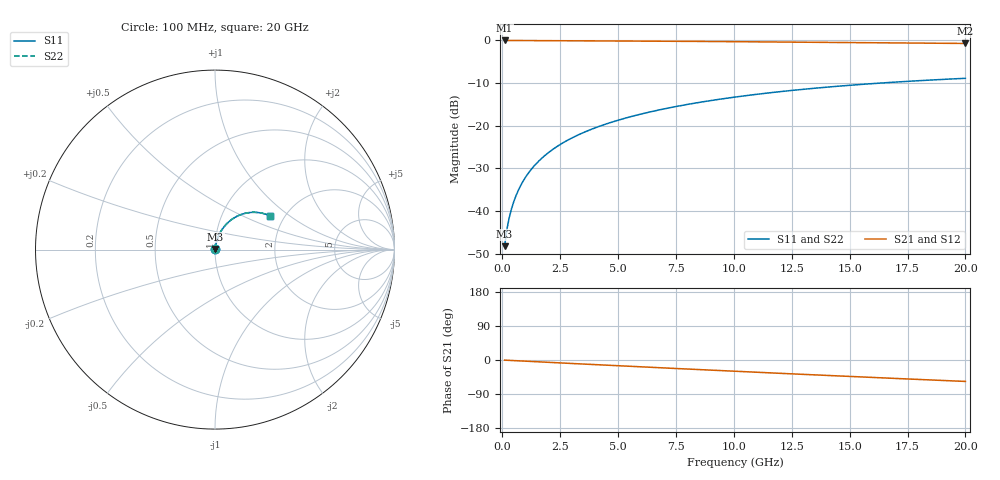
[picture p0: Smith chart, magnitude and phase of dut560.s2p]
! Touchstone file exported from HFSS 2026.1.0
!  File:  C:/ffzhzh/LocalFiles/Ansys_Project_Files/temp_train_BSMRDL_560_1783015300_53980.aedt
!  Generated:  02:03:15 AM Jul  3, 2026
!  Design:  BSMRDL
!  Project:  temp_train_BSMRDL_560_1783015300_53980
! Variables:
!  h_bsmrdl = 5.26um
!  h_ox = 20um
!  h_rdl = 5um
!  h_sub = 80um
!  h_tmrdl = 5um
!  h_tsv = 80um
!  h_via = 3um
!  l_bsmrdl = 937.49um
!  l_sub = 1337.49um
!  l_tmrdl = 200um
!  m_sub = 200um
!  pitch = 45.64um
!  r_tsv = 6um
!  s_tmrdl = 10um
!  w_bsmrdl = 25.73um
!  w_sub = 500um
!  w_tmrdl = 12um
!  x_tsv_center1 = 206um
!  x_tsv_center2 = 1169.22um
!  x_tsv_center3 = 1381.22um
!  x_tsv_center4 = 2344.44um
!  x_tsv_center5 = 2556.44um
!  x_tsv_center6 = 3519.66um
# GHz S MA R 50.000000
! Terminal data exported
! Port[1] = BSM_RDL1_1_T1
! Port[2] = BSM_RDL1_1_T2
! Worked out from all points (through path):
!   200 points, 100 MHz to 20 GHz, reference 50 ohm
!   highest |S21| = -0.02 dB at 100 MHz (marker M1); lowest = -0.7 dB at 20 GHz (marker M2)
!   group delay of S21, straight-line fit = 7.84 ps
!   lowest |S11| = -48.2 dB at 100 MHz (marker M3), VSWR 1.01, Z = 50.3 + j0.278 ohm
!   |S11| at or under -10 dB: start of sweep to 16.35 GHz
!   |S22| runs from -48.2 to -8.9 dB; largest |S21 - S12| = 3.3e-14
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0.1  0.003878 45.5  0.9973 -0.3  0.9973 -0.3  0.003878 45.5
! Gamma 0 0 0 0
! Port Impedance 50 0 50 0
0.2  0.006102 60.3  0.997 -0.6  0.997 -0.6  0.006101 60.3
0.3  0.008373 66.9  0.9968 -1.0  0.9968 -1.0  0.008373 66.9
0.4  0.01066 70.8  0.9967 -1.3  0.9967 -1.3  0.01066 70.8
0.5  0.01298 73.4  0.9966 -1.6  0.9966 -1.6  0.01298 73.4
0.6  0.01533 75.1  0.9965 -1.9  0.9965 -1.9  0.01533 75.1
0.8  0.02006 77.2  0.9962 -2.5  0.9962 -2.5  0.02006 77.2
1.1  0.0272 78.6  0.9959 -3.4  0.9959 -3.4  0.0272 78.6
1.5  0.03673 78.9  0.9952 -4.6  0.9952 -4.6  0.03673 78.9
1.8  0.04384 78.7  0.9947 -5.5  0.9947 -5.5  0.04384 78.7
2.1  0.0509 78.2  0.994 -6.5  0.994 -6.5  0.0509 78.3
2.7  0.06484 77.0  0.9926 -8.3  0.9926 -8.3  0.06484 77.0
3.5  0.08303 75.0  0.9903 -10.7  0.9903 -10.7  0.08303 75.0
4.2  0.09858 73.2  0.9882 -12.8  0.9882 -12.8  0.09858 73.2
5  0.116 71.0  0.9855 -15.1  0.9855 -15.1  0.116 71.1
5.9  0.1351 68.6  0.9823 -17.8  0.9823 -17.8  0.1351 68.6
6.8  0.1537 66.2  0.979 -20.4  0.979 -20.4  0.1537 66.2
8.3  0.1835 62.1  0.9729 -24.7  0.9729 -24.7  0.1836 62.2
10.1  0.2175 57.3  0.9651 -29.9  0.9651 -29.9  0.2175 57.3
13.4  0.2735 48.5  0.9498 -39.0  0.9498 -39.0  0.2735 48.5
16.7  0.3209 39.9  0.9343 -47.9  0.9343 -47.9  0.3209 39.9
20  0.3592 31.5  0.92 -56.6  0.92 -56.6  0.3593 31.5
